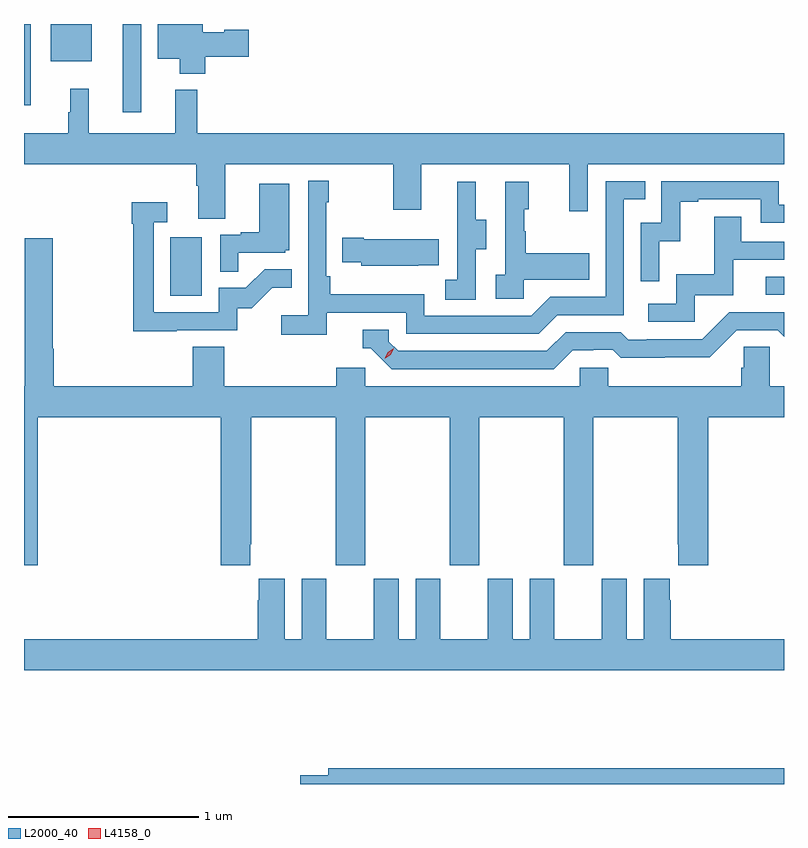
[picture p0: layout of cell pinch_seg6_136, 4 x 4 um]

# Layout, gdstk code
import gdstk
lib = gdstk.Library(unit=1e-6, precision=1e-09)
def R(c, l, rs):  # rectangles x0, y0, x1, y1
    for r in rs: c.add(gdstk.rectangle(r[:2], r[2:], *l))
def P(c, l, *ps):  # polygons
    for p in ps: c.add(gdstk.Polygon(p, *l))
L2000_40 = (2000, 40)
L4158_0 = (4158, 0)

pinch_seg6_136 = lib.new_cell('pinch_seg6_136')
R(pinch_seg6_136, L2000_40, [(985.61,922.668,985.774,922.975), (988.743,922.674,988.839,922.767), (985.358,923.634,985.455,924.098), (984.839,923.67,984.874,924.098), (984.98,923.903,985.195,924.098)])
P(pinch_seg6_136, L2000_40, [(985.793,923.926),(986.023,923.926),(986.023,924.068),(985.893,924.068),(985.893,924.055),(985.78,924.055),(985.78,924.098),(985.544,924.098),(985.544,923.915),(985.658,923.915),(985.658,923.837),(985.793,923.837)],
  [(985.082,923.758),(985.082,923.633),(985.071,923.633),(985.071,923.524),(984.839,923.524),(984.839,923.36),(985.745,923.36),(985.745,923.248),(985.757,923.248),(985.757,923.074),(985.897,923.074),(985.897,923.36),(986.782,923.36),(986.782,923.121),(986.929,923.121),(986.929,923.36),(987.71,923.36),(987.71,923.112),(987.807,923.112),(987.807,923.36),(988.839,923.36),(988.839,923.524),(985.751,923.524),(985.751,923.752),(985.634,923.752),(985.634,923.524),(985.181,923.524),(985.181,923.758)],
  [(986.432,922.578),(986.85,922.578),(986.85,922.467),(987.547,922.467),(987.646,922.566),(987.996,922.566),(987.996,923.175),(988.109,923.175),(988.109,923.271),(987.9,923.271),(987.9,922.662),(987.609,922.662),(987.51,922.563),(986.946,922.563),(986.946,922.675),(986.45,922.675),(986.45,922.771),(986.43,922.771),(986.43,923.159),(986.443,923.159),(986.443,923.272),(986.334,923.272),(986.334,922.564),(986.193,922.564),(986.193,922.462),(986.432,922.462)],
  [(988.182,922.955),(988.292,922.955),(988.292,923.163),(988.387,923.163),(988.387,923.175),(988.716,923.175),(988.716,923.052),(988.839,923.052),(988.839,923.148),(988.812,923.148),(988.812,923.271),(988.194,923.271),(988.194,923.052),(988.086,923.052),(988.086,922.743),(988.182,922.743)],
  [(987.216,922.912),(987.271,922.912),(987.271,923.067),(987.217,923.067),(987.217,923.269),(987.119,923.269),(987.119,923.055),(987.12,923.055),(987.12,922.751),(987.057,922.751),(987.057,922.648),(987.216,922.648)],
  [(987.468,922.751),(987.815,922.751),(987.815,922.891),(987.481,922.891),(987.481,923.006),(987.471,923.006),(987.471,923.124),(987.496,923.124),(987.496,923.269),(987.372,923.269),(987.372,922.778),(987.321,922.778),(987.321,922.653),(987.468,922.653)],
  [(985.967,922.893),(986.214,922.893),(986.214,922.908),(986.236,922.908),(986.236,923.257),(986.078,923.257),(986.078,923.002),(985.979,923.002),(985.979,922.989),(985.872,922.989),(985.872,922.795),(985.967,922.795)],
  [(985.643,922.485),(985.962,922.485),(985.962,922.602),(986.038,922.602),(986.145,922.709),(986.249,922.709),(986.249,922.808),(986.105,922.808),(986.007,922.71),(985.863,922.71),(985.863,922.581),(985.521,922.581),(985.521,923.055),(985.594,923.055),(985.594,923.161),(985.405,923.161),(985.405,923.048),(985.413,923.048),(985.413,922.48),(985.643,922.48)],
  [(988.368,922.671),(988.573,922.671),(988.573,922.857),(988.839,922.857),(988.839,922.953),(988.615,922.953),(988.615,923.083),(988.471,923.083),(988.471,922.78),(988.272,922.78),(988.272,922.626),(988.125,922.626),(988.125,922.53),(988.368,922.53)],
  [(986.915,922.829),(987.023,922.829),(987.023,922.966),(986.626,922.966),(986.626,922.974),(986.515,922.974),(986.515,922.844),(986.613,922.844),(986.613,922.826),(986.915,922.826)],
  [(984.911,922.028),(985.874,922.028),(985.874,921.249),(986.029,921.249),(986.029,921.361),(986.034,921.361),(986.034,922.028),(986.479,922.028),(986.479,921.249),(986.634,921.249),(986.634,922.028),(987.079,922.028),(987.079,921.249),(987.234,921.249),(987.234,922.028),(987.679,922.028),(987.679,921.249),(987.834,921.249),(987.834,922.028),(988.279,922.028),(988.279,921.361),(988.283,921.361),(988.283,921.249),(988.439,921.249),(988.439,922.028),(988.839,922.028),(988.839,922.192),(988.764,922.192),(988.764,922.4),(988.627,922.4),(988.627,922.29),(988.613,922.29),(988.613,922.192),(987.915,922.192),(987.915,922.29),(987.765,922.29),(987.765,922.192),(986.634,922.192),(986.634,922.29),(986.483,922.29),(986.483,922.192),(985.892,922.192),(985.892,922.4),(985.727,922.4),(985.727,922.192),(984.995,922.192),(984.995,922.388),(984.99,922.388),(984.99,922.971),(984.842,922.971),(984.842,922.192),(984.839,922.192),(984.839,921.249),(984.911,921.249)],
  [(987.727,922.38),(987.834,922.38),(987.834,922.383),(987.937,922.383),(987.979,922.341),(988.212,922.341),(988.212,922.343),(988.448,922.343),(988.59,922.485),(988.806,922.485),(988.839,922.452),(988.839,922.581),(988.551,922.581),(988.41,922.44),(988.117,922.44),(988.117,922.437),(988.018,922.437),(987.979,922.476),(987.69,922.476),(987.591,922.377),(986.808,922.377),(986.76,922.425),(986.76,922.488),(986.621,922.488),(986.621,922.392),(986.664,922.392),(986.775,922.281),(987.628,922.281)],
  [(988.839,920.86),(988.244,920.86),(988.244,921.065),(988.237,921.065),(988.237,921.178),(988.1,921.178),(988.1,920.86),(988.012,920.86),(988.012,921.178),(987.881,921.178),(987.881,920.86),(987.631,920.86),(987.631,921.178),(987.5,921.178),(987.5,920.86),(987.412,920.86),(987.412,921.178),(987.281,921.178),(987.281,920.86),(987.031,920.86),(987.031,921.178),(986.9,921.178),(986.9,920.86),(986.812,920.86),(986.812,921.178),(986.681,921.178),(986.681,920.86),(986.431,920.86),(986.431,921.178),(986.3,921.178),(986.3,920.86),(986.212,920.86),(986.212,921.178),(986.075,921.178),(986.075,921.065),(986.069,921.065),(986.069,920.86),(984.839,920.86),(984.839,920.696),(988.839,920.696)],
  [(988.839,920.18),(986.441,920.18),(986.441,920.144),(986.292,920.144),(986.292,920.098),(988.839,920.098)])
P(pinch_seg6_136, L4158_0, [(986.738,922.338),(986.738,922.338),(986.754,922.371),(986.784,922.391),(986.784,922.391),(986.784,922.39),(986.769,922.358),(986.739,922.338)])

lib.write_gds('pinch_seg6_136.gds')
